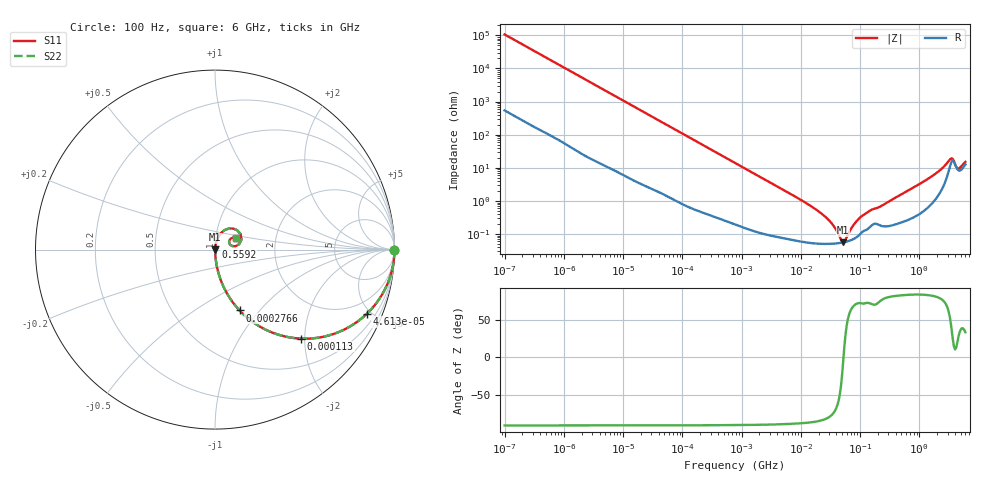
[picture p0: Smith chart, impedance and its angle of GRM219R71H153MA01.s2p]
!Murata Part Number: GRM219R71H153MA01
!These Parameters are Measured in Series Mode Connection
!Data Generated on Mar 30, 2021
!  o--ll--o
!Port1  Port2
!  o------o
!Operation Temp=25[degC], DC Bias Voltage=0[V]
!Freq. Start=100[Hz] Stop=6[GHz] 401[Steps]
# Hz S RI R 50
!Freq.(Hz) S11(Real) S11(Imag) S21(Real) S21(Imag) S12(Real) S12(Imag) S22(Real) S22(Imag)
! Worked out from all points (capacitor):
!   401 points, 100 Hz to 6 GHz, reference 50 ohm
!   read as one part in series: C = 15 nF near 109 Hz
!   lowest |Z| = 56.5 mohm at 52.11 MHz (marker M1)
!   series resonance near 52.55 MHz, so ESL is about 610 pH
!   S11 on the Smith chart (normalised r, x): 100 Hz: open; 46.13 kHz: 1.03, -4.69; 113 kHz: 1.01, -1.92; 276.6 kHz: 1.01, -0.79; 559.2 MHz: 1.00, +0.04; 6 GHz: 1.25, +0.17
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100  1 -0.000943  5.7e-06 0.000943  5.7e-06 0.000943  1 -0.000943
2008  0.9996 -0.0187  0.000444 0.0187  0.000444 0.0187  0.9996 -0.0187
11514  0.9881 -0.1056  0.0119 0.1056  0.0119 0.1056  0.9881 -0.1056
40335  0.8762 -0.3259  0.1238 0.3259  0.1238 0.3259  0.8762 -0.3259
46134  0.8445 -0.3589  0.1555 0.3589  0.1555 0.3589  0.8445 -0.3589
112960  0.4807 -0.4959  0.5193 0.4959  0.5193 0.4959  0.4807 -0.4959
276587  0.137 -0.339  0.863 0.339  0.863 0.339  0.137 -0.339
774597  0.0215 -0.1384  0.9785 0.1384  0.9785 0.1384  0.0215 -0.1384
2481164  0.00296 -0.0443  0.997 0.0443  0.997 0.0443  0.00296 -0.0443
1.555665e7  0.000576 -0.00661  0.9994 0.00661  0.9994 0.00661  0.000576 -0.00661
3.045065e7  0.000514 -0.00247  0.9995 0.00247  0.9995 0.00247  0.000514 -0.00247
4.764863e7  0.000548 -0.000423  0.9995 0.000423  0.9995 0.000423  0.000548 -0.000423
5.211241e7  0.000564 -3.58e-05  0.9994 3.58e-05  0.9994 3.58e-05  0.000564 -3.58e-05
5.699437e7  0.000585 0.000352  0.9994 -0.000352  0.9994 -0.000352  0.000585 0.000352
7.797396e7  0.000717 0.00176  0.9993 -0.00176  0.9993 -0.00176  0.000717 0.00176
1.020051e8  0.00104 0.00309  0.999 -0.00309  0.999 -0.00309  0.00104 0.00309
3.124326e8  0.00185 0.0097  0.9982 -0.0097  0.9982 -0.0097  0.00185 0.0097
5.59173e8  0.00272 0.0176  0.9973 -0.0176  0.9973 -0.0176  0.00272 0.0176
1.712697e9  0.0124 0.0573  0.9876 -0.0573  0.9876 -0.0573  0.0124 0.0573
3.352442e9  0.1226 0.1087  0.8774 -0.1087  0.8774 -0.1087  0.1226 0.1087
4.586474e9  0.079 0.0368  0.921 -0.0368  0.921 -0.0368  0.079 0.0368
6e9  0.1176 0.0649  0.8824 -0.0649  0.8824 -0.0649  0.1176 0.0649
